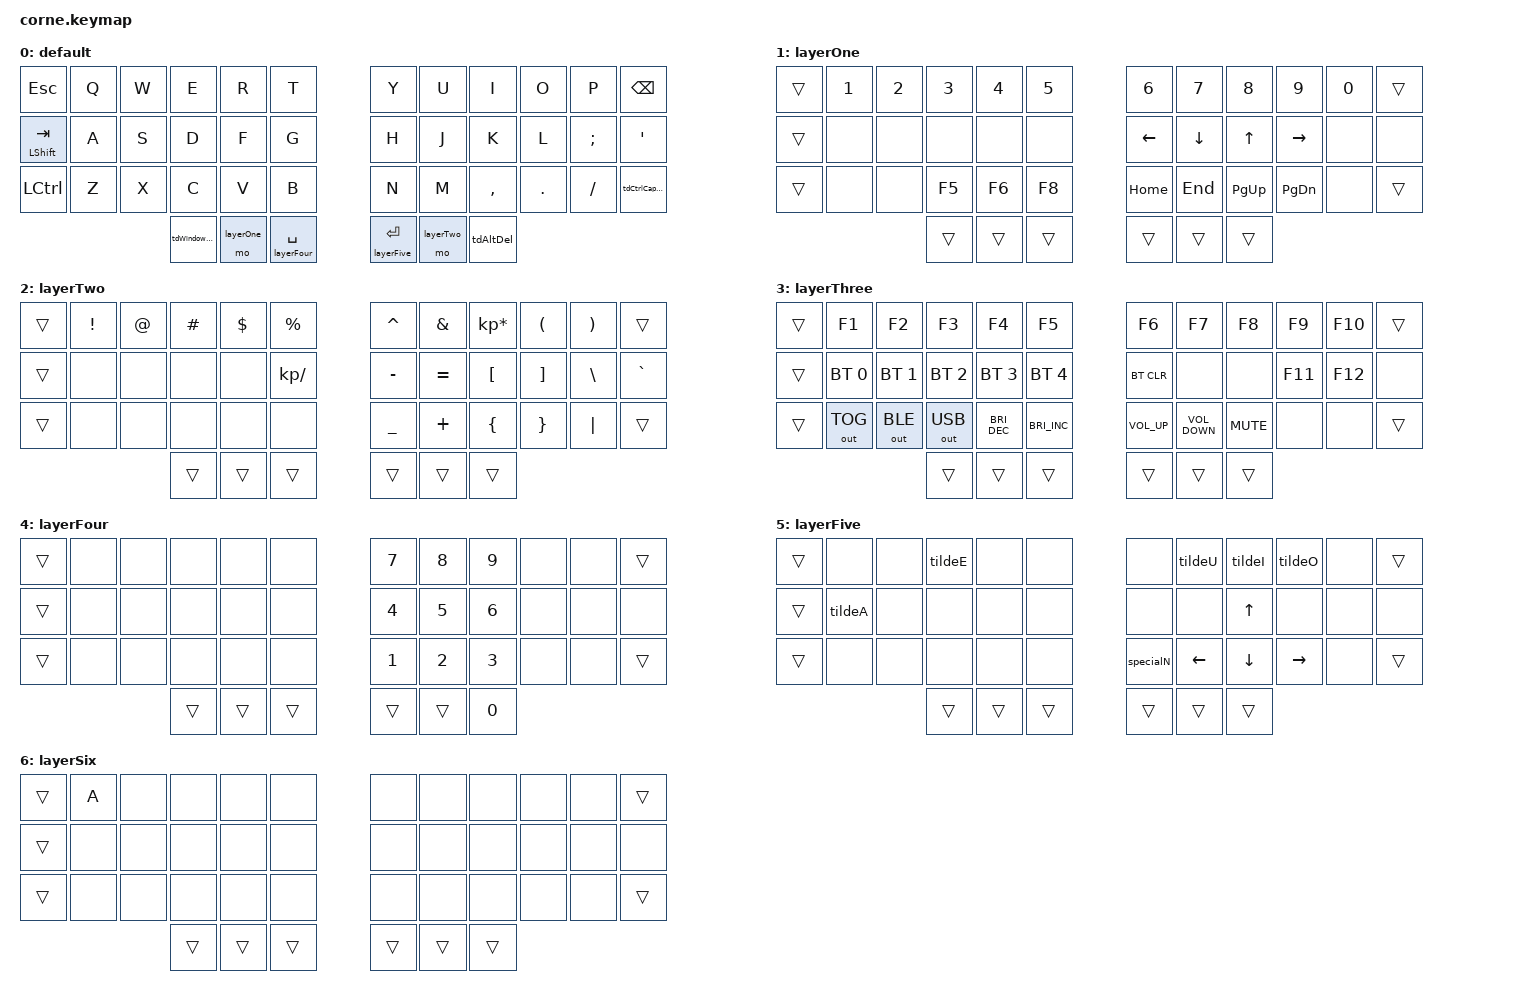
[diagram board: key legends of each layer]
/*
 * Copyright (c) 2020 The ZMK Contributors
 *
 * SPDX-License-Identifier: MIT
 */
 

#include <behaviors.dtsi>
#include <dt-bindings/zmk/keys.h>
#include <dt-bindings/zmk/bt.h>
#include <dt-bindings/zmk/outputs.h>

#define default 0
#define layerOne   1
#define layerTwo   2
#define layerThree  3
#define layerFour  4
#define layerFive 5
#define layerSix  6
#define layerSeven  7

/ {

        conditional_layers {
            compatible = "zmk,conditional-layers";
            layerThree {
                if-layers = <layerOne layerTwo>;
                then-layer = <layerThree>;
            };
            layerSix {
                if-layers = <layerFour layerFive>;
                then-layer = <layerSix>;
            };
        };

        //tecla para hacer macros para windows
        //https://zmk.dev/docs/behaviors/macros
        macros {
                screenshotM: screenshotM {
                        label = "screenshotMac";
                        compatible = "zmk,behavior-macro";
                        #binding-cells = <0>;
                        bindings
                                = <&macro_press &kp LGUI>
                                , <&macro_press &kp LSHFT>
                                , <&macro_press &kp N4>
                                , <&macro_release &kp LGUI>
                                , <&macro_release &kp LSHFT>
                                , <&macro_release &kp N4>
                                ;
                };

                shiftBack: shiftBack {
                        label = "shiftBack";
                        compatible = "zmk,behavior-macro";
                        #binding-cells = <0>;
                        bindings
                                = <&macro_press &kp LSHFT>
                                , <&macro_tap &kp TAB>
                                , <&macro_release &kp LSHFT>
                                ;
                };


                aTildeMinus: aTildeMinus {
                        label = "aTildeMinus";
                        compatible = "zmk,behavior-macro";
                        #binding-cells = <0>;
                        bindings
                                = <&macro_press &kp LALT>
                                , <&macro_tap &kp KP_N1>
                                , <&macro_tap &kp KP_N6>
                                , <&macro_tap &kp KP_N0>
                                , <&macro_release &kp LALT>
                                ;
                };

                aTildeMayus: aTildeMayus {
                        label = "aTildeMayus";
                        compatible = "zmk,behavior-macro";
                        #binding-cells = <0>;
                        bindings
                                = <&macro_press &kp LALT>
                                , <&macro_tap &kp KP_N0>
                                , <&macro_tap &kp KP_N1>
                                , <&macro_tap &kp KP_N9>
                                , <&macro_tap &kp KP_N3>
                                , <&macro_release &kp LALT>
                                ;
                };

                eTildeMinus: eTildeMinus {
                        label = "eTildeMinus";
                        compatible = "zmk,behavior-macro";
                        #binding-cells = <0>;
                        bindings
                                = <&macro_press &kp LALT>
                                , <&macro_tap &kp KP_N1>
                                , <&macro_tap &kp KP_N3>
                                , <&macro_tap &kp KP_N0>
                                , <&macro_release &kp LALT>
                                ;
                };

                eTildeMayus: eTildeMayus {
                        label = "eTildeMayus";
                        compatible = "zmk,behavior-macro";
                        #binding-cells = <0>;
                        bindings
                                = <&macro_press &kp LALT>
                                , <&macro_tap &kp KP_N1>
                                , <&macro_tap &kp KP_N4>
                                , <&macro_tap &kp KP_N4>
                                , <&macro_release &kp LALT>
                                ;
                };

                 iTildeMinus: iTildeMinus {
                        label = "iTildeMinus";
                        compatible = "zmk,behavior-macro";
                        #binding-cells = <0>;
                        bindings
                                = <&macro_press &kp LALT>
                                , <&macro_tap &kp KP_N1>
                                , <&macro_tap &kp KP_N6>
                                , <&macro_tap &kp KP_N1>
                                , <&macro_release &kp LALT>
                                ;
                };

                iTildeMayus: iTildeMayus {
                        label = "iTildeMayus";
                        compatible = "zmk,behavior-macro";
                        #binding-cells = <0>;
                        bindings
                                = <&macro_press &kp LALT>
                                , <&macro_tap &kp KP_N0>
                                , <&macro_tap &kp KP_N2>
                                , <&macro_tap &kp KP_N0>
                                , <&macro_tap &kp KP_N5>
                                , <&macro_release &kp LALT>
                                ;
                };

                oTildeMinus: oTildeMinus {
                        label = "oTildeMinus";
                        compatible = "zmk,behavior-macro";
                        #binding-cells = <0>;
                        bindings
                                = <&macro_press &kp LALT>
                                , <&macro_tap &kp KP_N1>
                                , <&macro_tap &kp KP_N6>
                                , <&macro_tap &kp KP_N2>
                                , <&macro_release &kp LALT>
                                ;
                };

                oTildeMayus: oTildeMayus {
                        label = "oTildeMayus";
                        compatible = "zmk,behavior-macro";
                        #binding-cells = <0>;
                        bindings
                                = <&macro_press &kp LALT>
                                , <&macro_tap &kp KP_N0>
                                , <&macro_tap &kp KP_N2>
                                , <&macro_tap &kp KP_N1>
                                , <&macro_tap &kp KP_N1>
                                , <&macro_release &kp LALT>
                                ;
                };

                uTildeMinus: uTildeMinus {
                        label = "uTildeMinus";
                        compatible = "zmk,behavior-macro";
                        #binding-cells = <0>;
                        bindings
                                = <&macro_press &kp LALT>
                                , <&macro_tap &kp KP_N1>
                                , <&macro_tap &kp KP_N6>
                                , <&macro_tap &kp KP_N3>
                                , <&macro_release &kp LALT>
                                ;
                };

                uTildeMayus: uTildeMayus {
                        label = "uTildeMayus";
                        compatible = "zmk,behavior-macro";
                        #binding-cells = <0>;
                        bindings
                                = <&macro_press &kp LALT>
                                , <&macro_tap &kp KP_N0>
                                , <&macro_tap &kp KP_N2>
                                , <&macro_tap &kp KP_N1>
                                , <&macro_tap &kp KP_N7>
                                , <&macro_release &kp LALT>
                                ;
                };

                nMinus: nMinus {
                        label = "nMinus";
                        compatible = "zmk,behavior-macro";
                        #binding-cells = <0>;
                        bindings
                                = <&macro_press &kp LALT>
                                , <&macro_tap &kp KP_N1>
                                , <&macro_tap &kp KP_N6>
                                , <&macro_tap &kp KP_N4>
                                , <&macro_release &kp LALT>
                                ;
                };

                nMayus: nMayus {
                        label = "nMayus";
                        compatible = "zmk,behavior-macro";
                        #binding-cells = <0>;
                        bindings
                                = <&macro_press &kp LALT>
                                , <&macro_tap &kp KP_N1>
                                , <&macro_tap &kp KP_N6>
                                , <&macro_tap &kp KP_N5>
                                , <&macro_release &kp LALT>
                                ;
                };
        };

        //Para alternar tecla con un modificador
        behaviors {
                
                //mod-morph
                //https://zmk.dev/docs/behaviors/mod-morph
                tildeA: tildeA {
                        compatible = "zmk,behavior-mod-morph";
                        label = "tildeA";
                        #binding-cells = <0>;
                        bindings = <&aTildeMinus>, <&aTildeMayus>;
                        mods = <LSHIFT>;
                };

                tildeE: tildeE {
                        compatible = "zmk,behavior-mod-morph";
                        label = "tildeE";
                        #binding-cells = <0>;
                        bindings = <&eTildeMinus>, <&eTildeMayus>;
                        mods = <LSHIFT>;
                };

                tildeI: tildeI {
                        compatible = "zmk,behavior-mod-morph";
                        label = "tildeI";
                        #binding-cells = <0>;
                        bindings = <&iTildeMinus>, <&iTildeMayus>;
                        mods = <LSHIFT>;
                };

                tildeO: tildeO {
                        compatible = "zmk,behavior-mod-morph";
                        label = "tildeO";
                        #binding-cells = <0>;
                        bindings = <&oTildeMinus>, <&oTildeMayus>;
                        mods = <LSHIFT>;
                };

                tildeU: tildeU {
                        compatible = "zmk,behavior-mod-morph";
                        label = "tildeU";
                        #binding-cells = <0>;
                        bindings = <&uTildeMinus>, <&uTildeMayus>;
                        mods = <LSHIFT>;
                };

                specialN: specialN {
                        compatible = "zmk,behavior-mod-morph";
                        label = "specialN";
                        #binding-cells = <0>;
                        bindings = <&nMinus>, <&nMayus>;
                        mods = <LSHIFT>;
                };


// -----------------------------------------------------------------------------------------


                //tap-dance
                //https://zmk.dev/docs/behaviors/tap-dance

                tdCtrlCapsLock: tdCtrlCapsLock {
                        compatible = "zmk,behavior-tap-dance";
                        label = "tdCtrlCapsLock";
                        #binding-cells = <0>;
                        tapping-term-ms = <200>;
                        bindings = <&mt LSHIFT CAPSLOCK>, <&kp LCTRL>;
                };

                tdWindowsAltCtrl: tdWindowsAltCtrl {
                        compatible = "zmk,behavior-tap-dance";
                        label = "tdWindowsAltCtrl";
                        #binding-cells = <0>;
                        tapping-term-ms = <200>;
                        bindings = <&kp LGUI>, <&kp LALT>, <&kp LCTRL>;
                };

                 tdAltDel: tdAltDel {
                        compatible = "zmk,behavior-tap-dance";
                        label = "tdAltDel";
                        #binding-cells = <0>;
                        tapping-term-ms = <200>;
                        bindings = <&kp LALT>, <&kp DEL>;
                };

        };

        keymap {
                compatible = "zmk,keymap";

// -----------------------------------------------------------------------------------------
// -----------------------------------------------------------------------------------------
// -----------------------------------------------------------------------------------------


// CAPA DEFAULT
// |   ESC  |  Q  |  W  |  E  |  R  |  T  |   |  Y  |  U   |  I  |  O  |  P  | BKSP  |
// |SHFT TAB|  A  |  S  |  D  |  F  |  G  |   |  H  |  J   |  K  |  L  | ; : |  ' "  |
// |  CTRL  |  Z  |  X  |  C  |  V  |  B  |   |  N  |  M   | , < | . > | / ? |CAPSLOCK 
//                                                                            SHIFT CTRL|
//            | GUI | L1(L3) | L4(L6) SPC |   | ENT L5(L6) | L2(L3) | ALT |

                default_layer {
                        label = "default";
                        bindings = <
   &kp ESC   &kp Q &kp W &kp E &kp R &kp T   &kp Y &kp U  &kp I     &kp O   &kp P    &kp BSPC
   &mt LSHFT TAB  &kp A &kp S &kp D &kp F &kp G   &kp H &kp J  &kp K     &kp L   &kp SEMI &kp SQT
   &kp LCTRL &kp Z &kp X &kp C &kp V &kp B   &kp N &kp M  &kp COMMA &kp DOT &kp FSLH &tdCtrlCapsLock
        &tdWindowsAltCtrl &mo layerOne  &lt layerFour SPACE   &lt layerFive RET &mo layerTwo &tdAltDel
                        >;
                };


// -----------------------------------------------------------------------------------------
// -----------------------------------------------------------------------------------------
// -----------------------------------------------------------------------------------------


// CAPA 1
// |  ESC   | 1 ! |  2 @  |  3 #  | 4 $ | 5 % |   | 6 ^ | 7 & | 8 *   | 9 (     | 0 ) | BKSP  |
//  SHF TAB |     |       |       |     |     |   | LFT | DWN | UP    | RGT     |     |       |
// | CTRL   |     |       |   F5  | F6  |  F8 |   |HOME |END  |PAGE_UP|PAGE_DOWN|     |CAPSLOCK 
//                                                                                    SHIFT CTRL|
//            | GUI | L1(L3) | L4(L6) SPC |   | ENT L5(L6) | L2(L3) | ALT |

                layerOne_layer {
                        label = "layerOne";
                        bindings = <
   &trans  &kp N1 &kp N2  &kp N3  &kp N4     &kp N5          &kp N6   &kp N7   &kp N8 &kp N9    &kp N0 &trans
   &trans  &none  &none &none  &none      &none              &kp LEFT &kp DOWN &kp UP &kp RIGHT  &none &none
   &trans  &none   &none  &kp F5  &kp F6 &kp F8                 &kp HOME &kp END &kp PAGE_UP  &kp PAGE_DOWN     &none  &trans
   &trans     &trans       &trans                                                      &trans  &trans   &trans
                        >;
                };


// -----------------------------------------------------------------------------------------
// -----------------------------------------------------------------------------------------
// -----------------------------------------------------------------------------------------


// CAPA 2
// |   ESC  |  !  |  @  |  #  |  $  |  %  |   |  ^  |  &  |  *  |  (  |  )  | BKSP  |
// |SHFT TAB|     |     |     |     |  /  |   |  -  |  =  |  [  |  ]  |  \  |   `   |
// | CTRL   |     |     |     |     |     |   |  _  |  +  |  {  |  }  | "|" |CAPSLOCK 
//                                                                          SHIFT CTRL|
//            | GUI | L1(L3) | L4(L6) SPC |   | ENT L5(L6) | L2(L3) | ALT |

                layerTwo_layer {
                        label = "layerTwo";
                        bindings = <
   &trans  &kp EXCL &kp AT &kp HASH &kp DLLR &kp PRCNT                  &kp CARET &kp AMPS  &kp KP_MULTIPLY &kp LPAR &kp RPAR &trans
   &trans  &none   &none &none   &none   &kp KP_DIVIDE                  &kp MINUS &kp EQUAL &kp LBKT        &kp RBKT &kp BSLH &kp GRAVE
   &trans  &none   &none &none   &none   &none                          &kp UNDER &kp PLUS  &kp LBRC        &kp RBRC &kp PIPE &trans
                &trans &trans   &trans                                          &trans   &trans    &trans
                        >;
                };


// -----------------------------------------------------------------------------------------
// -----------------------------------------------------------------------------------------
// -----------------------------------------------------------------------------------------


// CAPA 3
// |   ESC  |  F1 |  F2 |  F3 |  F4   |  F5   |   |  F6  |  F7 |  F8 |  F9 | F10 | BKSP  |
// |SHFT TAB| BT1 | BT2 | BT3 | BT4   | BT5   |   |BT_CLR|     |     | F11 | F12 |       |
// | CTRL   |OUT_TOG|OUT_BLE|OUT_USB|BRILLO-|BRILLO+|   |VOL - |VOL +|MUTE |     |     |CAPSLOCK 
//                                                                               SHIFT CTRL|
//            | GUI | L1(L3) | L4(L6) SPC |   | ENT L5(L6) | L2(L3) | ALT |

                layerThree_layer {
                        label = "layerThree";
                        bindings = <
        &trans &kp F1 &kp F2 &kp F3 &kp F4 &kp F5                                       &kp F6 &kp F7 &kp F8 &kp F9  &kp F10 &trans
        &trans &bt BT_SEL 0 &bt BT_SEL 1 &bt BT_SEL 2 &bt BT_SEL 3 &bt BT_SEL 4         &bt BT_CLR &none &none &kp F11 &kp F12 &none
        &trans &out OUT_TOG &out OUT_BLE &out OUT_USB &kp C_BRIGHTNESS_DEC &kp C_BRIGHTNESS_INC              &kp C_VOLUME_UP &kp C_VOLUME_DOWN &kp K_MUTE &none &none &trans
                    	     &trans &trans &trans                                               &trans &trans &trans
                        >;
                };


// -----------------------------------------------------------------------------------------
// -----------------------------------------------------------------------------------------
// -----------------------------------------------------------------------------------------


// CAPA 4
// |   ESC  |     |     |     |     |     |   |  7  |  8  |  9  |     |     | BKSP  |
// |SHFT TAB|     |     |     |     |     |   |  4  |  5  |  6  |     |     |       |
// | CTRL   |     |     |     |     |     |   |  1  |  2  |  3  |     |     |CAPSLOCK 
//                                                                          SHIFT CTRL|
//            | GUI | L1 (L3) | SPC L4(6) |   | ENT L5(6) | L2 (L3) | 0 |

                layerFour_layer {
                        label = "layerFour";
                        bindings = <
        &trans &none &none &none &none &none                    &kp N7 &kp N8 &kp N9 &none &none &trans
        &trans &none &none &none &none &none                    &kp N4 &kp N5 &kp N6 &none &none &none
        &trans &none &none &none &none &none                    &kp N1 &kp N2 &kp N3 &none &none &trans
                    	     &trans &trans &trans                       &trans &trans &kp N0
                        >;
                };


// -----------------------------------------------------------------------------------------
// -----------------------------------------------------------------------------------------
// -----------------------------------------------------------------------------------------


// CAPA 5
// |   ESC  |     |     | é/É |     |     |   |     | ú/Ú | í/Í | ó/Ó |     | BKSP  |
// |SHFT TAB| á/Á |     |     |     |     |   |     |     |  UP |     |     |       |
// | CTRL   |     |     |     |     |     |   | ñ/Ñ | LFT | DWN | RGT |     |CAPSLOCK 
//                                                                          SHIFT CTRL|
//            | GUI | L1(L3) | L4(L6) SPC |   | ENT L5(L6) | L2(L3) | ALT |

                layerFive_layer {
                        label = "layerFive";
                        bindings = <
        &trans &none &none &tildeE &none &none                  &none &tildeU  &tildeI   &tildeO     &none &trans
        &trans &tildeA &none &none &none &none                  &none &none    &kp UP    &none     &none &none
        &trans &none &none &none &none &none                    &specialN &kp LEFT &kp DOWN &kp RIGHT &none &trans
                    	     &trans &trans &trans                       &trans &trans &trans
                        >;
                };


// -----------------------------------------------------------------------------------------
// -----------------------------------------------------------------------------------------
// -----------------------------------------------------------------------------------------


// CAPA 6
// |   ESC  |     |     |     |     |     |   |     |     |     |     |     |     | BKSP  |
// |SHFT TAB|     |     |     |     |     |   |     |     |     |     |     |     |       |
// | CTRL   |     |     |     |     |     |   |     |     |     |     |     |     |CAPSLOCK 
//                                                                                SHIFT CTRL|
//            | GUI | L1(L3) | L4(L6) SPC |   | ENT L5(L6) | L2(L3) | ALT |

                layerSix_layer {
                        label = "layerSix";
                        bindings = <
        &trans &kp A &none &none &none &none                    &none &none &none &none &none  &trans
        &trans &none &none &none &none &none                    &none &none &none &none &none  &none
        &trans &none &none &none &none &none                    &none &none &none &none &none &trans
                    	     &trans &trans &trans                       &trans &trans &trans
                        >;
                };


// -----------------------------------------------------------------------------------------
// -----------------------------------------------------------------------------------------
// -----------------------------------------------------------------------------------------


        };
};
